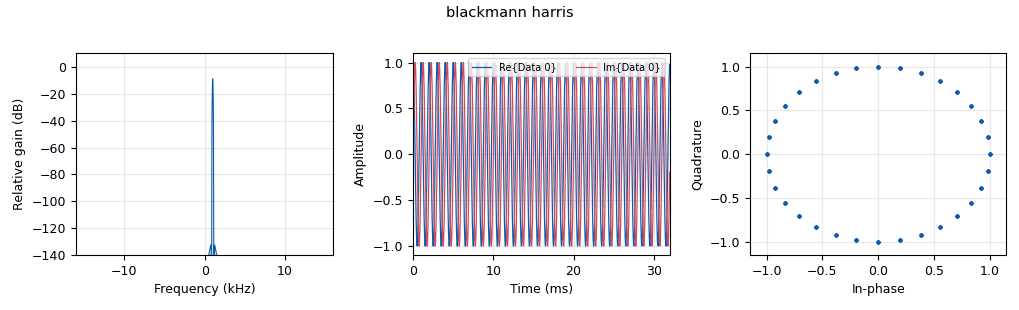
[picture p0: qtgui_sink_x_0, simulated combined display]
options:
  parameters:
    author: alpgo
    generate_options: qt_gui
    id: fftdemo
    output_language: python
    title: Not titled yet
  states: {}

blocks:
- name: samp_rate
  id: variable
  parameters:
    value: '32000'
  states: {}
- name: analog_sig_source_x_0
  id: analog_sig_source_x
  parameters:
    amp: '1'
    freq: '1000'
    offset: '0'
    phase: '0'
    samp_rate: samp_rate
    type: complex
    waveform: analog.GR_COS_WAVE
  states: {}
- name: blocks_throttle2_0
  id: blocks_throttle2
  parameters:
    samples_per_second: samp_rate
    type: complex
  states: {}
- name: qtgui_sink_x_0
  id: qtgui_sink_x
  parameters:
    bw: samp_rate
    fc: '0'
    fftsize: '1024'
    name: '"blackmann harris"'
    type: complex
  states: {}

connections:
- [analog_sig_source_x_0, '0', blocks_throttle2_0, '0']
- [blocks_throttle2_0, '0', qtgui_sink_x_0, '0']

metadata:
  file_format: 1
  grc_version: 3.10.12.0
